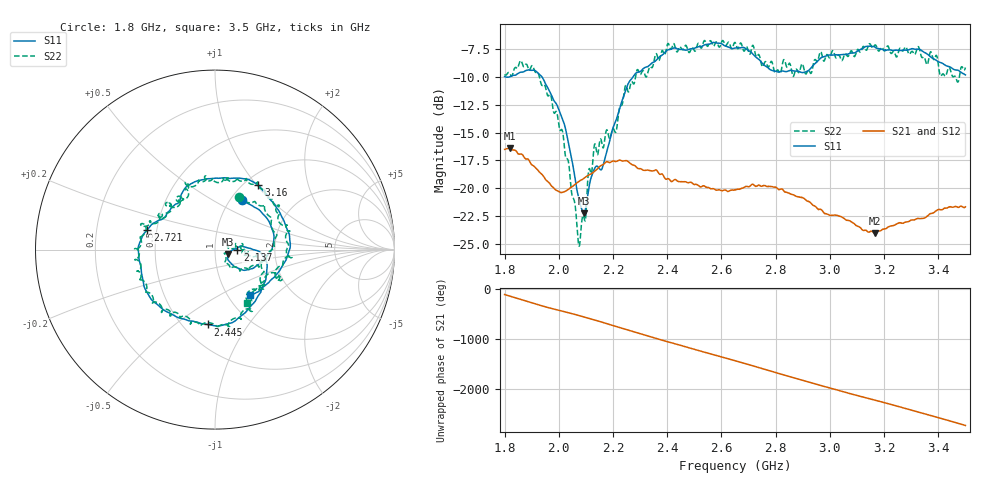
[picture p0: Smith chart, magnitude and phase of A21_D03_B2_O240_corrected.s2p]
! Created with skrf 1.9.0 (http://scikit-rf.org).
# Hz S RI R 50.0
!freq ReS11 ImS11 ReS21 ImS21 ReS12 ImS12 ReS22 ImS22
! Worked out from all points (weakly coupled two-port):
!   1601 points, 1.8 GHz to 3.5 GHz, reference 50 ohm
!   highest |S21| = -16.41 dB at 1.818 GHz (marker M1); lowest = -24.0 dB at 3.165 GHz (marker M2)
!   lowest |S11| = -22.2 dB at 2.092 GHz (marker M3), VSWR 1.17, Z = 57.9 - j2.75 ohm
!   |S11| at or under -10 dB: 1.802 GHz to 1.819 GHz (17.34 MHz wide, 0.958 % of centre); 1.937 GHz to 2.274 GHz (336.9 MHz wide, 16 % of centre)
!   |S22| runs from -25.2 to -6.7 dB; largest |S21 - S12| = 0.0026
!   S11 on the Smith chart (normalised r, x): 1.8 GHz: 1.13, +0.70; 2.137 GHz: 1.29, -0.00; 2.445 GHz: 0.66, -0.66; 2.721 GHz: 0.44, +0.11; 3.16 GHz: 1.16, +1.02; 3.5 GHz: 1.26, -0.72
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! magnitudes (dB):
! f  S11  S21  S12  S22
! 1.8 GHz  -10.0  -16.5  -16.5  -9.8
! 1.818 GHz  -10.0  -16.4  -16.4  -9.7
! 1.903 GHz  -9.4  -17.9  -17.9  -9.0
! 1.968 GHz  -11.4  -19.6  -19.7  -11.6
! 2.015 GHz  -13.9  -20.4  -20.4  -15.0
! 2.072 GHz  -20.7  -19.4  -19.5  -24.9
! 2.084 GHz  -21.8  -19.3  -19.2  -23.1
! 2.092 GHz  -22.2  -19.1  -19.2  -22.6
! 2.137 GHz  -18.0  -18.4  -18.4  -16.3
! 2.161 GHz  -18.1  -17.9  -17.8  -16.3
! 2.209 GHz  -14.0  -17.6  -17.6  -15.0
! 2.26 GHz  -10.4  -17.7  -17.7  -11.2
! 2.367 GHz  -8.3  -18.6  -18.5  -8.5
! 2.445 GHz  -7.6  -19.4  -19.4  -7.3
! 2.65 GHz  -7.4  -20.1  -20.1  -6.9
! 2.721 GHz  -8.1  -19.8  -19.7  -7.5
! 2.802 GHz  -9.5  -19.9  -20.0  -9.5
! 2.934 GHz  -9.1  -21.4  -21.4  -9.5
! 3.16 GHz  -7.3  -24.0  -23.9  -7.4
! 3.165 GHz  -7.3  -24.0  -24.0  -7.2
! 3.217 GHz  -7.6  -23.4  -23.4  -7.4
! 3.5 GHz  -9.8  -21.7  -21.7  -9.2
